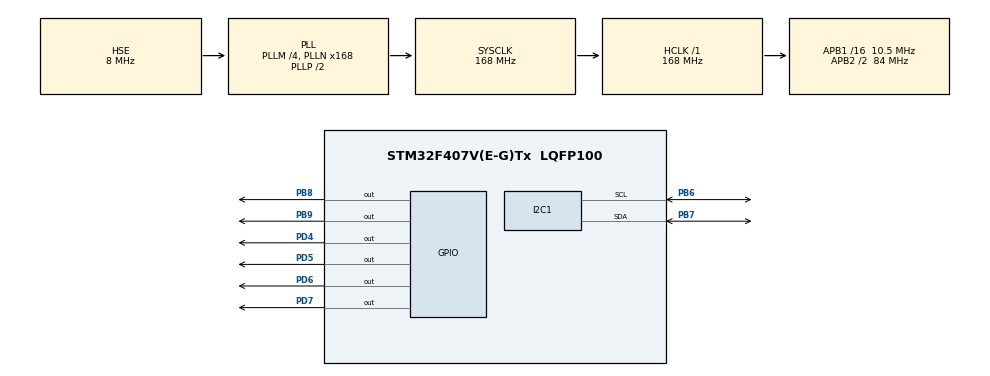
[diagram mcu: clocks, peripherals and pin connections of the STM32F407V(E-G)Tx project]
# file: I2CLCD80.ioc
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Mcu.Family=STM32F4
Mcu.Name=STM32F407V(E-G)Tx
Mcu.Package=LQFP100
NVIC.PriorityGroup=NVIC_PRIORITYGROUP_4
PB6.Mode=I2C
PB6.Signal=I2C1_SCL
PB7.Mode=I2C
PB7.Signal=I2C1_SDA
PB8.Signal=GPIO_Output
PB9.Signal=GPIO_Output
PD4.Signal=GPIO_Output
PD5.Signal=GPIO_Output
PD6.Signal=GPIO_Output
PD7.Signal=GPIO_Output
PH0-OSC_IN.Mode=HSE-External-Oscillator
PH0-OSC_IN.Signal=RCC_OSC_IN
PH1-OSC_OUT.Mode=HSE-External-Oscillator
PH1-OSC_OUT.Signal=RCC_OSC_OUT
ProjectManager.HeapSize=0x200
ProjectManager.StackSize=0x400
ProjectManager.TargetToolchain=MDK-ARM V5
RCC.48MHZClocksFreq_Value=84000000
RCC.AHBFreq_Value=168000000
RCC.APB1CLKDivider=RCC_HCLK_DIV16
RCC.APB1Freq_Value=10500000
RCC.APB1TimFreq_Value=21000000
RCC.APB2CLKDivider=RCC_HCLK_DIV2
RCC.APB2Freq_Value=84000000
RCC.APB2TimFreq_Value=168000000
RCC.CortexFreq_Value=168000000
RCC.HCLKFreq_Value=168000000
RCC.HSE_VALUE=8000000
RCC.HSI_VALUE=16000000
RCC.LSE_VALUE=32768
RCC.PLLM=4
RCC.PLLN=168
RCC.PLLSourceVirtual=RCC_PLLSOURCE_HSE
RCC.SYSCLKFreq_VALUE=168000000
RCC.SYSCLKSource=RCC_SYSCLKSOURCE_PLLCLK
RCC.VCOOutputFreq_Value=336000000
board=I2CLCD80

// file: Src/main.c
/**
  ******************************************************************************
  * File Name          : main.c
  * Description        : Main program body
  ******************************************************************************
  *
  * COPYRIGHT(c) 2016 STMicroelectronics
  *
  * Redistribution and use in source and binary forms, with or without modification,
  * are permitted provided that the following conditions are met:
  *   1. Redistributions of source code must retain the above copyright notice,
  *      this list of conditions and the following disclaimer.
  *   2. Redistributions in binary form must reproduce the above copyright notice,
  *      this list of conditions and the following disclaimer in the documentation
  *      and/or other materials provided with the distribution.
  *   3. Neither the name of STMicroelectronics nor the names of its contributors
  *      may be used to endorse or promote products derived from this software
  *      without specific prior written permission.
  *
  * THIS SOFTWARE IS PROVIDED BY THE COPYRIGHT HOLDERS AND CONTRIBUTORS "AS IS"
  * AND ANY EXPRESS OR IMPLIED WARRANTIES, INCLUDING, BUT NOT LIMITED TO, THE
  * IMPLIED WARRANTIES OF MERCHANTABILITY AND FITNESS FOR A PARTICULAR PURPOSE ARE
  * DISCLAIMED. IN NO EVENT SHALL THE COPYRIGHT HOLDER OR CONTRIBUTORS BE LIABLE
  * FOR ANY DIRECT, INDIRECT, INCIDENTAL, SPECIAL, EXEMPLARY, OR CONSEQUENTIAL
  * DAMAGES (INCLUDING, BUT NOT LIMITED TO, PROCUREMENT OF SUBSTITUTE GOODS OR
  * SERVICES; LOSS OF USE, DATA, OR PROFITS; OR BUSINESS INTERRUPTION) HOWEVER
  * CAUSED AND ON ANY THEORY OF LIABILITY, WHETHER IN CONTRACT, STRICT LIABILITY,
  * OR TORT (INCLUDING NEGLIGENCE OR OTHERWISE) ARISING IN ANY WAY OUT OF THE USE
  * OF THIS SOFTWARE, EVEN IF ADVISED OF THE POSSIBILITY OF SUCH DAMAGE.
  *
  ******************************************************************************
  */
#include "stm32f4xx_hal.h"

/* USER CODE BEGIN Includes */
#include "main.h"
/* USER CODE END Includes */

I2C_HandleTypeDef hi2c1;

/* USER CODE BEGIN PV */
/* Private variables ---------------------------------------------------------*/

/* USER CODE END PV */

void SystemClock_Config(void);
void Error_Handler(void);
static void MX_GPIO_Init(void);
static void MX_I2C1_Init(void);

/* USER CODE BEGIN PFP */
/* Private function prototypes -----------------------------------------------*/

/* USER CODE END PFP */

int main(void)
{

  /* USER CODE BEGIN 1 */
	char str[100];
  /* USER CODE END 1 */

  /* MCU Configuration----------------------------------------------------------*/

  /* Reset of all peripherals, Initializes the Flash interface and the Systick. */
  HAL_Init();

  /* Configure the system clock */
  SystemClock_Config();

  /* Initialize all configured peripherals */
  MX_GPIO_Init();
  MX_I2C1_Init();

  /* USER CODE BEGIN 2 */
	LCD_ini();
	sprintf(str,"Stm32F407VG");
	LCD_String(str);
	LCD_SetPos(10, 2);
	sprintf(str,"ARM mc");
	LCD_String(str);
	HAL_Delay(2000);
	LCD_Clear();
	LCD_SetPos(4, 0);
	LCD_SendChar('s');
	LCD_SetPos(8, 1);
	LCD_SendChar('t');
	LCD_SetPos(12, 2);
	LCD_SendChar('m');
	LCD_SetPos(16, 3);
	LCD_SendChar('3');
	LCD_SendChar('2');
	HAL_Delay(2000);
  /* USER CODE END 2 */

  /* Infinite loop */
  while (1)
  {

  }

}

/** System Clock Configuration
*/
void SystemClock_Config(void)
{

  RCC_OscInitTypeDef RCC_OscInitStruct;
  RCC_ClkInitTypeDef RCC_ClkInitStruct;

  __HAL_RCC_PWR_CLK_ENABLE();

  __HAL_PWR_VOLTAGESCALING_CONFIG(PWR_REGULATOR_VOLTAGE_SCALE1);

  RCC_OscInitStruct.OscillatorType = RCC_OSCILLATORTYPE_HSE;
  RCC_OscInitStruct.HSEState = RCC_HSE_ON;
  RCC_OscInitStruct.PLL.PLLState = RCC_PLL_ON;
  RCC_OscInitStruct.PLL.PLLSource = RCC_PLLSOURCE_HSE;
  RCC_OscInitStruct.PLL.PLLM = 4;
  RCC_OscInitStruct.PLL.PLLN = 168;
  RCC_OscInitStruct.PLL.PLLP = RCC_PLLP_DIV2;
  RCC_OscInitStruct.PLL.PLLQ = 4;
  if (HAL_RCC_OscConfig(&RCC_OscInitStruct) != HAL_OK)
  {
    Error_Handler();
  }

  RCC_ClkInitStruct.ClockType = RCC_CLOCKTYPE_HCLK|RCC_CLOCKTYPE_SYSCLK
                              |RCC_CLOCKTYPE_PCLK1|RCC_CLOCKTYPE_PCLK2;
  RCC_ClkInitStruct.SYSCLKSource = RCC_SYSCLKSOURCE_PLLCLK;
  RCC_ClkInitStruct.AHBCLKDivider = RCC_SYSCLK_DIV1;
  RCC_ClkInitStruct.APB1CLKDivider = RCC_HCLK_DIV16;
  RCC_ClkInitStruct.APB2CLKDivider = RCC_HCLK_DIV2;
  if (HAL_RCC_ClockConfig(&RCC_ClkInitStruct, FLASH_LATENCY_5) != HAL_OK)
  {
    Error_Handler();
  }

  HAL_SYSTICK_Config(HAL_RCC_GetHCLKFreq()/1000);

  HAL_SYSTICK_CLKSourceConfig(SYSTICK_CLKSOURCE_HCLK);

  /* SysTick_IRQn interrupt configuration */
  HAL_NVIC_SetPriority(SysTick_IRQn, 0, 0);
}

/* I2C1 init function */
static void MX_I2C1_Init(void)
{

  hi2c1.Instance = I2C1;
  hi2c1.Init.ClockSpeed = 100000;
  hi2c1.Init.DutyCycle = I2C_DUTYCYCLE_2;
  hi2c1.Init.OwnAddress1 = 0;
  hi2c1.Init.AddressingMode = I2C_ADDRESSINGMODE_7BIT;
  hi2c1.Init.DualAddressMode = I2C_DUALADDRESS_DISABLE;
  hi2c1.Init.OwnAddress2 = 0;
  hi2c1.Init.GeneralCallMode = I2C_GENERALCALL_DISABLE;
  hi2c1.Init.NoStretchMode = I2C_NOSTRETCH_DISABLE;
  if (HAL_I2C_Init(&hi2c1) != HAL_OK)
  {
    Error_Handler();
  }

}

/** Configure pins as
        * Analog
        * Input
        * Output
        * EVENT_OUT
        * EXTI
*/
static void MX_GPIO_Init(void)
{

  GPIO_InitTypeDef GPIO_InitStruct;

  /* GPIO Ports Clock Enable */
  __HAL_RCC_GPIOH_CLK_ENABLE();
  __HAL_RCC_GPIOD_CLK_ENABLE();
  __HAL_RCC_GPIOB_CLK_ENABLE();

  /*Configure GPIO pin Output Level */
  HAL_GPIO_WritePin(GPIOD, GPIO_PIN_4|GPIO_PIN_5|GPIO_PIN_6|GPIO_PIN_7, GPIO_PIN_RESET);

  /*Configure GPIO pin Output Level */
  HAL_GPIO_WritePin(GPIOB, GPIO_PIN_8|GPIO_PIN_9, GPIO_PIN_RESET);

  /*Configure GPIO pins : PD4 PD5 PD6 PD7 */
  GPIO_InitStruct.Pin = GPIO_PIN_4|GPIO_PIN_5|GPIO_PIN_6|GPIO_PIN_7;
  GPIO_InitStruct.Mode = GPIO_MODE_OUTPUT_PP;
  GPIO_InitStruct.Pull = GPIO_NOPULL;
  GPIO_InitStruct.Speed = GPIO_SPEED_FREQ_LOW;
  HAL_GPIO_Init(GPIOD, &GPIO_InitStruct);

  /*Configure GPIO pins : PB8 PB9 */
  GPIO_InitStruct.Pin = GPIO_PIN_8|GPIO_PIN_9;
  GPIO_InitStruct.Mode = GPIO_MODE_OUTPUT_PP;
  GPIO_InitStruct.Pull = GPIO_NOPULL;
  GPIO_InitStruct.Speed = GPIO_SPEED_FREQ_LOW;
  HAL_GPIO_Init(GPIOB, &GPIO_InitStruct);

}

void Error_Handler(void)
{
  while(1)
  {
  }
}

/************************ (C) COPYRIGHT STMicroelectronics *****END OF FILE****/
